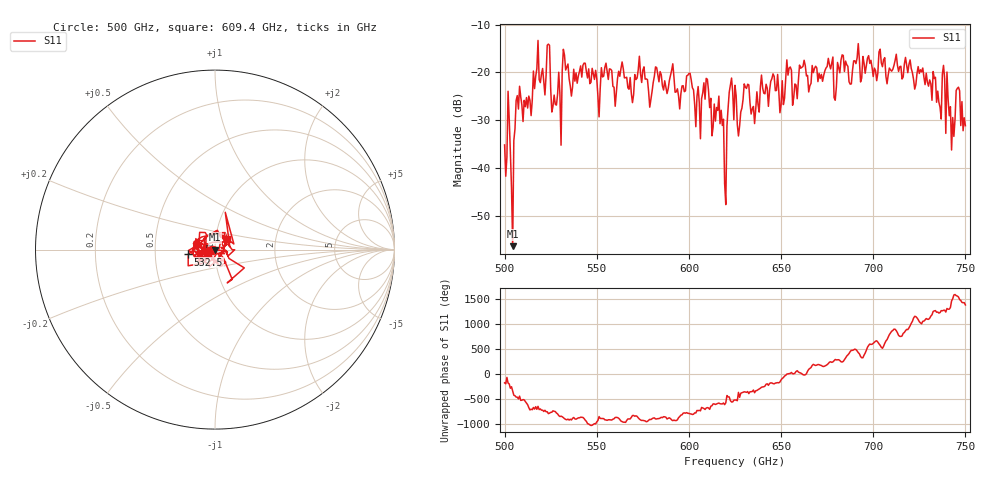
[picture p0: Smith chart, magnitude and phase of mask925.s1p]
!Created with skrf (http://scikit-rf.org).
# GHz S MA R 50.0
!freq magS11 angS11
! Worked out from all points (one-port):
!   401 points, 500 GHz to 750 GHz, reference 50 ohm
!   lowest |S11| = -56.3 dB at 504.4 GHz (marker M1), VSWR 1.00, Z = 50.1 + j0.0552 ohm
!   |S11| at or under -10 dB: start of sweep to end of sweep
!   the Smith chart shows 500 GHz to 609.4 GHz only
!   S11 on the Smith chart (normalised r, x): 500 GHz: 0.97, -0.00; 532.5 GHz: 0.74, -0.04; 609.4 GHz: 1.13, +0.13
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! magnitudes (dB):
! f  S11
! 500 GHz  -35.2
! 502.5 GHz  -29.8
! 504.4 GHz  -56.3
! 507.5 GHz  -27.7
! 513.8 GHz  -25.8
! 516.9 GHz  -20.8
! 523.8 GHz  -14.1
! 526.9 GHz  -24.7
! 531.2 GHz  -19.7
! 532.5 GHz  -16.4
! 550.6 GHz  -25.0
! 562.5 GHz  -20.8
! 593.8 GHz  -23.4
! 600 GHz  -20.2
! 605 GHz  -23.0
! 609.4 GHz  -21.2
! 617.5 GHz  -27.9
! 619.4 GHz  -43.2
! 622.5 GHz  -22.6
! 625 GHz  -22.7
! 656.2 GHz  -26.9
! 687.5 GHz  -22.5
! 718.8 GHz  -20.1
! 735.6 GHz  -26.2
! 738.8 GHz  -21.3
! 742.5 GHz  -36.2
! 745.6 GHz  -23.3
! 750 GHz  -31.1
